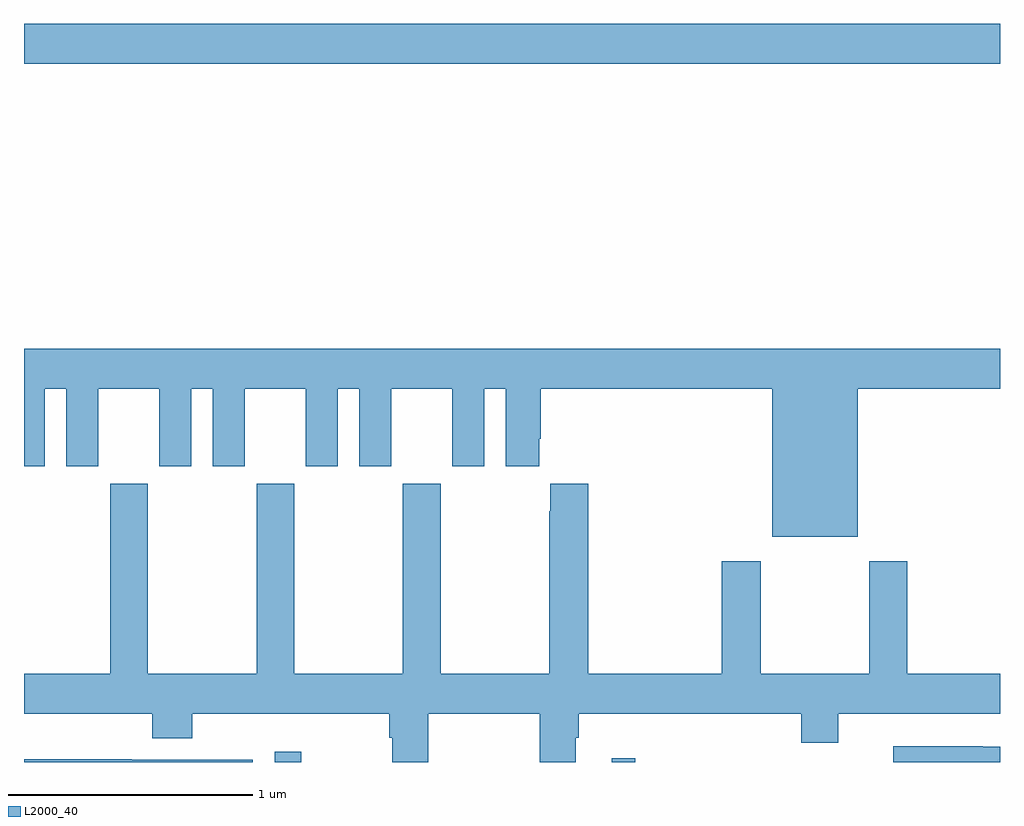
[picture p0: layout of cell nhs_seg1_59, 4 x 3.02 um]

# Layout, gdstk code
import gdstk
lib = gdstk.Library(unit=1e-6, precision=1e-09)
def R(c, l, rs):  # rectangles x0, y0, x1, y1
    for r in rs: c.add(gdstk.rectangle(r[:2], r[2:], *l))
def P(c, l, *ps):  # polygons
    for p in ps: c.add(gdstk.Polygon(p, *l))
L2000_40 = (2000, 40)

nhs_seg1_59 = lib.new_cell('nhs_seg1_59')
R(nhs_seg1_59, L2000_40, [(114.027,554.199,114.136,554.242), (115.409,554.199,115.506,554.215), (113,557.06,117,557.224)])
P(nhs_seg1_59, L2000_40, [(116.416,555.728),(117,555.728),(117,555.892),(113,555.892),(113,555.411),(113.086,555.411),(113.086,555.728),(113.174,555.728),(113.174,555.411),(113.305,555.411),(113.305,555.728),(113.555,555.728),(113.555,555.411),(113.686,555.411),(113.686,555.728),(113.774,555.728),(113.774,555.411),(113.905,555.411),(113.905,555.728),(114.155,555.728),(114.155,555.411),(114.286,555.411),(114.286,555.728),(114.374,555.728),(114.374,555.411),(114.505,555.411),(114.505,555.728),(114.755,555.728),(114.755,555.411),(114.886,555.411),(114.886,555.728),(114.974,555.728),(114.974,555.411),(115.111,555.411),(115.111,555.523),(115.118,555.523),(115.118,555.728),(116.066,555.728),(116.066,555.122),(116.416,555.122)],
  [(114.657,554.396),(115.114,554.396),(115.114,554.199),(115.261,554.199),(115.261,554.298),(115.274,554.298),(115.274,554.396),(116.186,554.396),(116.186,554.279),(116.338,554.279),(116.338,554.396),(117,554.396),(117,554.56),(116.619,554.56),(116.619,555.022),(116.464,555.022),(116.464,554.56),(116.019,554.56),(116.019,555.022),(115.859,555.022),(115.859,554.56),(115.313,554.56),(115.313,555.34),(115.157,555.34),(115.157,555.227),(115.153,555.227),(115.153,554.56),(114.708,554.56),(114.708,555.34),(114.553,555.34),(114.553,554.56),(114.108,554.56),(114.108,555.34),(113.953,555.34),(113.953,554.56),(113.508,554.56),(113.508,555.34),(113.353,555.34),(113.353,554.56),(113,554.56),(113,554.396),(113.525,554.396),(113.525,554.297),(113.69,554.297),(113.69,554.396),(114.497,554.396),(114.497,554.298),(114.509,554.298),(114.509,554.199),(114.657,554.199)],
  [(117,554.262),(116.93,554.262),(116.93,554.263),(116.562,554.263),(116.562,554.199),(117,554.199)],
  [(113.937,554.208),(113.441,554.208),(113.441,554.21),(113,554.21),(113,554.199),(113.937,554.199)])

lib.write_gds('nhs_seg1_59.gds')
